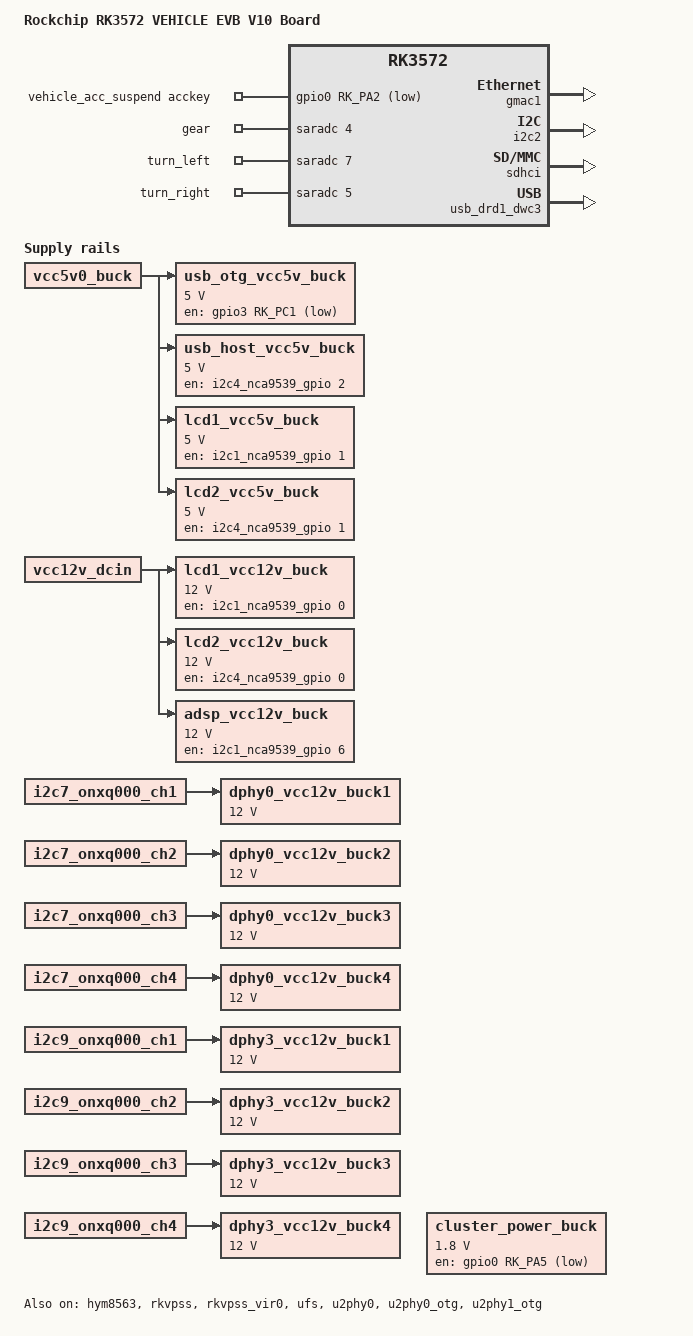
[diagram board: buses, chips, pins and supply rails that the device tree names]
// SPDX-License-Identifier: (GPL-2.0+ OR MIT)
/*
 * Copyright (c) 2026 Rockchip Electronics Co., Ltd.
 *
 */

/dts-v1/;

#include "rk3572.dtsi"
#include "rk3572-vehicle-evb-v10.dtsi"
#include "rk3572-vehicle-evb-v10-storage.dtsi"
#include "rk3572-vehicle-evb-v10-nca9539-io-expander.dtsi"
#include "rk3572-vehicle-evb-v10-serdes-mfd-display-maxim.dtsi"
#include "rk3572-vehicle-evb-v10-maxim-max96712-dphy0-ox03j10.dtsi"
#include "rk3572-vehicle-evb-v10-maxim-max96712-dphy3-sc233at.dtsi"
#include "rk3572-android.dtsi"

/ {
	model = "Rockchip RK3572 VEHICLE EVB V10 Board";
	compatible = "rockchip,rk3572-vehicle-evb-v10", "rockchip,rk3572";

	chosen: chosen {
		bootargs = "earlycon=uart8250,mmio32,0x2c130000 console=ttyFIQ0 rcupdate.rcu_expedited=1 rcu_nocbs=all spidev.bufsiz=131072";
	};

	vehicle_acc_suspend: vehicle-acc-suspend {
		compatible = "rockchip,vehicle-dummy-gpio";
		pinctrl-names = "default";
		pinctrl-0 = <&acckey_vehicle_gpio>;
		acckey-gpios = <&gpio0 RK_PA2 GPIO_ACTIVE_LOW>;
		wakeup-source;
		status = "okay";
	};

	vehicle_dummy: vehicle-dummy {
		status = "okay";
		compatible = "rockchip,vehicle-dummy-adc";
		io-channels = <&saradc 4>, <&saradc 7>, <&saradc 5>;
		io-channel-names = "gear", "turn_left", "turn_right";
	};

	cluster_power_buck: cluster_power-buck {
		compatible = "regulator-fixed";
		regulator-name = "cluster_power_buck";
		regulator-boot-on;
		regulator-always-on;
		regulator-min-microvolt = <1800000>;
		regulator-max-microvolt = <1800000>;
		//enable-active-high;
		gpio = <&gpio0 RK_PA5 GPIO_ACTIVE_LOW>;
		//vin-supply = <&vcc_1v8_s0>;
		pinctrl-names = "default";
		pinctrl-0 = <&cluster_buck_en>;
		regulator-state-mem {
			regulator-off-in-suspend;
			regulator-suspend-microvolt = <1800000>;
		};
	};

	usb_otg_vcc5v_buck: usb_otg_vcc5v-buck {
		compatible = "regulator-fixed";
		regulator-name = "usb_otg_vcc5v_buck";
		regulator-boot-on;
		regulator-always-on;
		regulator-min-microvolt = <5000000>;
		regulator-max-microvolt = <5000000>;
		//enable-active-high;
		gpio = <&gpio3 RK_PC1 GPIO_ACTIVE_HIGH>;
		pinctrl-names = "default";
		pinctrl-0 = <&vcc5v0_otg_en>;
		vin-supply = <&vcc5v0_buck>;
		regulator-state-mem {
			regulator-off-in-suspend;
			regulator-suspend-microvolt = <5000000>;
		};
	};

	usb_host_vcc5v_buck: usb_host_vcc5v-buck {
		compatible = "regulator-fixed";
		regulator-name = "usb_host_vcc5v_buck";
		//regulator-boot-on;
		//regulator-always-on;
		regulator-min-microvolt = <5000000>;
		regulator-max-microvolt = <5000000>;
		enable-active-high;
		gpio = <&i2c4_nca9539_gpio 2 GPIO_ACTIVE_HIGH>;
		vin-supply = <&vcc5v0_buck>;
		regulator-state-mem {
			regulator-off-in-suspend;
			regulator-suspend-microvolt = <5000000>;
		};
	};

	lcd1_vcc12v_buck: lcd1_vcc12v-buck {
		compatible = "regulator-fixed";
		regulator-name = "lcd1_vcc12v_buck";
		regulator-boot-on;
		regulator-always-on;
		regulator-min-microvolt = <12000000>;
		regulator-max-microvolt = <12000000>;
		enable-active-high;
		gpio = <&i2c1_nca9539_gpio 0 GPIO_ACTIVE_HIGH>;
		vin-supply = <&vcc12v_dcin>;
		regulator-state-mem {
			regulator-off-in-suspend;
			regulator-suspend-microvolt = <12000000>;
		};
	};

	lcd2_vcc12v_buck: lcd2_vcc12v-buck {
		compatible = "regulator-fixed";
		regulator-name = "lcd2_vcc12v_buck";
		regulator-boot-on;
		regulator-always-on;
		regulator-min-microvolt = <12000000>;
		regulator-max-microvolt = <12000000>;
		enable-active-high;
		gpio = <&i2c4_nca9539_gpio 0 GPIO_ACTIVE_HIGH>;
		vin-supply = <&vcc12v_dcin>;
		regulator-state-mem {
			regulator-off-in-suspend;
			regulator-suspend-microvolt = <12000000>;
		};
	};

	lcd1_vcc5v_buck: lcd1_vcc5v-buck {
		compatible = "regulator-fixed";
		regulator-name = "lcd1_vcc5v_buck";
		regulator-boot-on;
		regulator-always-on;
		regulator-min-microvolt = <5000000>;
		regulator-max-microvolt = <5000000>;
		enable-active-high;
		gpio = <&i2c1_nca9539_gpio 1 GPIO_ACTIVE_HIGH>;
		vin-supply = <&vcc5v0_buck>;
		regulator-state-mem {
			regulator-off-in-suspend;
			regulator-suspend-microvolt = <5000000>;
		};
	};

	lcd2_vcc5v_buck: lcd2_vcc5v-buck {
		compatible = "regulator-fixed";
		regulator-name = "lcd2_vcc5v_buck";
		regulator-boot-on;
		regulator-always-on;
		regulator-min-microvolt = <5000000>;
		regulator-max-microvolt = <5000000>;
		enable-active-high;
		gpio = <&i2c4_nca9539_gpio 1 GPIO_ACTIVE_HIGH>;
		vin-supply = <&vcc5v0_buck>;
		regulator-state-mem {
			regulator-off-in-suspend;
			regulator-suspend-microvolt = <5000000>;
		};
	};

	adsp_vcc12v_buck: adsp_vcc12v-buck {
		compatible = "regulator-fixed";
		regulator-name = "adsp_vcc12v_buck";
		regulator-boot-on;
		regulator-always-on;
		regulator-min-microvolt = <12000000>;
		regulator-max-microvolt = <12000000>;
		enable-active-high;
		gpio = <&i2c1_nca9539_gpio 6 GPIO_ACTIVE_HIGH>;
		vin-supply = <&vcc12v_dcin>;
		regulator-state-mem {
			regulator-off-in-suspend;
			regulator-suspend-microvolt = <12000000>;
		};
	};

	dphy0_vcc12v_buck1: dphy0_vcc12v-buck1 {
		compatible = "regulator-fixed";
		regulator-name = "dphy0_vcc12v_buck1";
		regulator-boot-on;
		regulator-min-microvolt = <12000000>;
		regulator-max-microvolt = <12000000>;
		startup-delay-us = <2000>;
		off-on-delay-us = <16000>;
		vin-supply = <&i2c7_onxq000_ch1>;
		regulator-state-mem {
			regulator-off-in-suspend;
			regulator-suspend-microvolt = <12000000>;
		};
	};

	dphy0_vcc12v_buck2: dphy0_vcc12v-buck2 {
		compatible = "regulator-fixed";
		regulator-name = "dphy0_vcc12v_buck2";
		regulator-boot-on;
		regulator-min-microvolt = <12000000>;
		regulator-max-microvolt = <12000000>;
		startup-delay-us = <2000>;
		off-on-delay-us = <16000>;
		vin-supply = <&i2c7_onxq000_ch2>;
		regulator-state-mem {
			regulator-off-in-suspend;
			regulator-suspend-microvolt = <12000000>;
		};
	};

	dphy0_vcc12v_buck3: dphy0_vcc12v-buck3 {
		compatible = "regulator-fixed";
		regulator-name = "dphy0_vcc12v_buck3";
		regulator-boot-on;
		regulator-min-microvolt = <12000000>;
		regulator-max-microvolt = <12000000>;
		startup-delay-us = <2000>;
		off-on-delay-us = <16000>;
		vin-supply = <&i2c7_onxq000_ch3>;
		regulator-state-mem {
			regulator-off-in-suspend;
			regulator-suspend-microvolt = <12000000>;
		};
	};

	dphy0_vcc12v_buck4: dphy0_vcc12v-buck4 {
		compatible = "regulator-fixed";
		regulator-name = "dphy0_vcc12v_buck4";
		regulator-boot-on;
		regulator-min-microvolt = <12000000>;
		regulator-max-microvolt = <12000000>;
		startup-delay-us = <2000>;
		off-on-delay-us = <16000>;
		vin-supply = <&i2c7_onxq000_ch4>;
		regulator-state-mem {
			regulator-off-in-suspend;
			regulator-suspend-microvolt = <12000000>;
		};
	};

	dphy3_vcc12v_buck1: dphy3_vcc12v-buck1 {
		compatible = "regulator-fixed";
		regulator-name = "dphy3_vcc12v_buck1";
		regulator-boot-on;
		regulator-min-microvolt = <12000000>;
		regulator-max-microvolt = <12000000>;
		startup-delay-us = <2000>;
		off-on-delay-us = <16000>;
		vin-supply = <&i2c9_onxq000_ch1>;
		regulator-state-mem {
			regulator-off-in-suspend;
			regulator-suspend-microvolt = <12000000>;
		};
	};

	dphy3_vcc12v_buck2: dphy3_vcc12v-buck2 {
		compatible = "regulator-fixed";
		regulator-name = "dphy3_vcc12v_buck2";
		regulator-boot-on;
		regulator-min-microvolt = <12000000>;
		regulator-max-microvolt = <12000000>;
		startup-delay-us = <2000>;
		off-on-delay-us = <16000>;
		vin-supply = <&i2c9_onxq000_ch2>;
		regulator-state-mem {
			regulator-off-in-suspend;
			regulator-suspend-microvolt = <12000000>;
		};
	};

	dphy3_vcc12v_buck3: dphy3_vcc12v-buck3 {
		compatible = "regulator-fixed";
		regulator-name = "dphy3_vcc12v_buck3";
		regulator-boot-on;
		regulator-min-microvolt = <12000000>;
		regulator-max-microvolt = <12000000>;
		startup-delay-us = <2000>;
		off-on-delay-us = <16000>;
		vin-supply = <&i2c9_onxq000_ch3>;
		regulator-state-mem {
			regulator-off-in-suspend;
			regulator-suspend-microvolt = <12000000>;
		};
	};

	dphy3_vcc12v_buck4: dphy3_vcc12v-buck4 {
		compatible = "regulator-fixed";
		regulator-name = "dphy3_vcc12v_buck4";
		regulator-boot-on;
		regulator-min-microvolt = <12000000>;
		regulator-max-microvolt = <12000000>;
		startup-delay-us = <2000>;
		off-on-delay-us = <16000>;
		vin-supply = <&i2c9_onxq000_ch4>;
		regulator-state-mem {
			regulator-off-in-suspend;
			regulator-suspend-microvolt = <12000000>;
		};
	};
};

&dfi {
	status = "disabled";
};

&dmc {
	status = "disabled";
};

&gmac1 {
	status = "okay";
};

&hym8563 {
	status = "okay";
};

&i2c2 {
	status = "okay";
};

/*edp*/
&i2c2_max96745 {
	vpower-supply = <&lcd2_vcc5v_buck>;
};

&i2c2_max96752 {
	vpower-supply = <&lcd2_vcc12v_buck>;
};

/*dsi*/
&i2c8_max96789 {
	vpower-supply = <&lcd1_vcc5v_buck>;
};

&i2c8_max96752 {
	vpower-supply = <&lcd1_vcc12v_buck>;
};

&pinctrl {
	acckey-gpio-vehicle {
		acckey_vehicle_gpio: acckey-vehicle-gpio {
			rockchip,pins = <0 RK_PA2 RK_FUNC_GPIO &pcfg_pull_up>;
		};
	};

	touch {
		//edp0-i2c2
		touch_gpio_edp: touch-gpio-edp {
			rockchip,pins =
				<0 RK_PB6 RK_FUNC_GPIO &pcfg_pull_up>;
		};
		//dsi-i2c8
		touch_gpio_dsi: touch-gpio-dsi {
			rockchip,pins =
				<3 RK_PD7 RK_FUNC_GPIO &pcfg_pull_up>;
		};
	};

	vcc5v0-otg {
		vcc5v0_otg_en: vcc5v0-otg-en {
			rockchip,pins = <3 RK_PC1 RK_FUNC_GPIO &pcfg_pull_up>;
		};
	};

	cluster-buck {
		cluster_buck_en: cluster-buck-en {
			rockchip,pins = <0 RK_PA5 RK_FUNC_GPIO &pcfg_pull_down>;
		};
	};
};

&rkvpss {
	status = "okay";
};

&rkvpss_mmu {
	status = "okay";
};

&rkvpss_vir0 {
	status = "okay";
};

&route_dsi {
	status = "disabled";
};

&sdmmc0 {
	status = "disabled";
};

&sdhci {
	status = "okay";
};

&ufs {
	status = "okay";
};

&u2phy0 {
	status = "okay";
};

&u2phy0_otg {
	vbus-supply = <&usb_otg_vcc5v_buck>;
	status = "okay";
};

&u2phy1_otg {
	phy-supply = <&usb_host_vcc5v_buck>;
	status = "okay";
};

&usb_drd1_dwc3 {
	snps,dis_u2_susphy_quirk;
	snps,usb2-lpm-disable;
	status = "okay";
};
